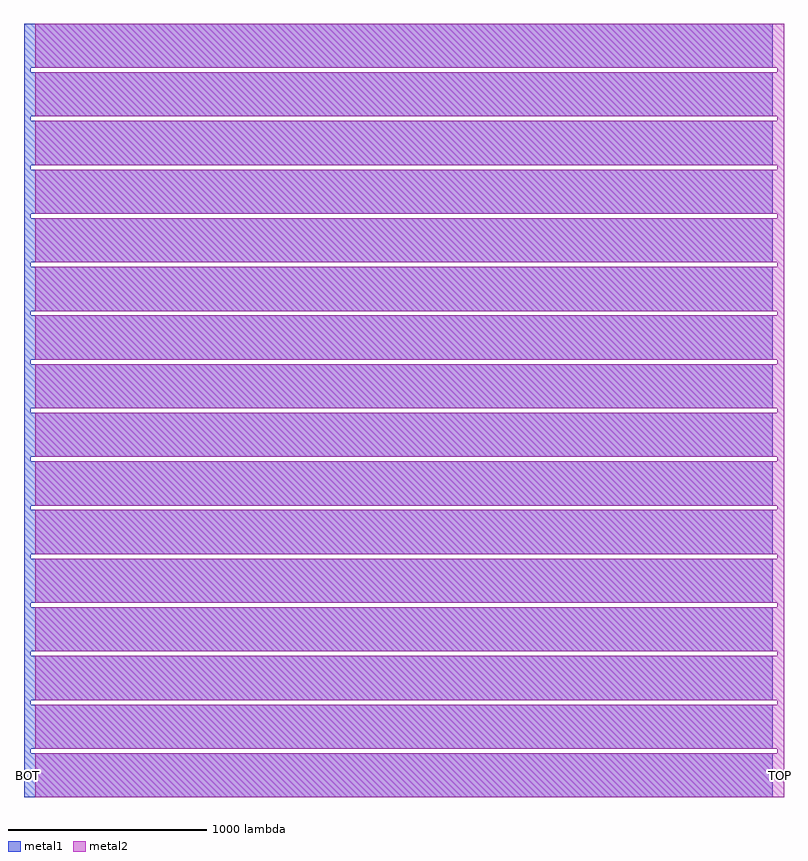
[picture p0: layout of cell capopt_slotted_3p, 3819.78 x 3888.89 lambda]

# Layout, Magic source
magic
tech SCL_CP8D
magscale 1 9
<< metal1 >>
rect -500 33000 33378 35000
rect -500 32800 -200 33000
rect -500 30800 33378 32800
rect -500 30600 -200 30800
rect -500 28600 33378 30600
rect -500 28400 -200 28600
rect -500 26400 33378 28400
rect -500 26200 -200 26400
rect -500 24200 33378 26200
rect -500 24000 -200 24200
rect -500 22000 33378 24000
rect -500 21800 -200 22000
rect -500 19800 33378 21800
rect -500 19600 -200 19800
rect -500 17600 33378 19600
rect -500 17400 -200 17600
rect -500 15400 33378 17400
rect -500 15200 -200 15400
rect -500 13200 33378 15200
rect -500 13000 -200 13200
rect -500 11000 33378 13000
rect -500 10800 -200 11000
rect -500 8800 33378 10800
rect -500 8600 -200 8800
rect -500 6600 33378 8600
rect -500 6400 -200 6600
rect -500 4400 33378 6400
rect -500 4200 -200 4400
rect -500 2200 33378 4200
rect -500 2000 -200 2200
rect -500 0 33378 2000
<< metal2 >>
rect 0 33000 33878 35000
rect 33578 32800 33878 33000
rect 0 30800 33878 32800
rect 33578 30600 33878 30800
rect 0 28600 33878 30600
rect 33578 28400 33878 28600
rect 0 26400 33878 28400
rect 33578 26200 33878 26400
rect 0 24200 33878 26200
rect 33578 24000 33878 24200
rect 0 22000 33878 24000
rect 33578 21800 33878 22000
rect 0 19800 33878 21800
rect 33578 19600 33878 19800
rect 0 17600 33878 19600
rect 33578 17400 33878 17600
rect 0 15400 33878 17400
rect 33578 15200 33878 15400
rect 0 13200 33878 15200
rect 33578 13000 33878 13200
rect 0 11000 33878 13000
rect 33578 10800 33878 11000
rect 0 8800 33878 10800
rect 33578 8600 33878 8800
rect 0 6600 33878 8600
rect 33578 6400 33878 6600
rect 0 4400 33878 6400
rect 33578 4200 33878 4400
rect 0 2200 33878 4200
rect 33578 2000 33878 2200
rect 0 0 33878 2000
<< labels >>
rlabel metal1 s -342 999 -342 999 4 BOT
port 1 nsew
rlabel metal2 s 33723 999 33723 999 4 TOP
port 2 nsew
<< end >>
